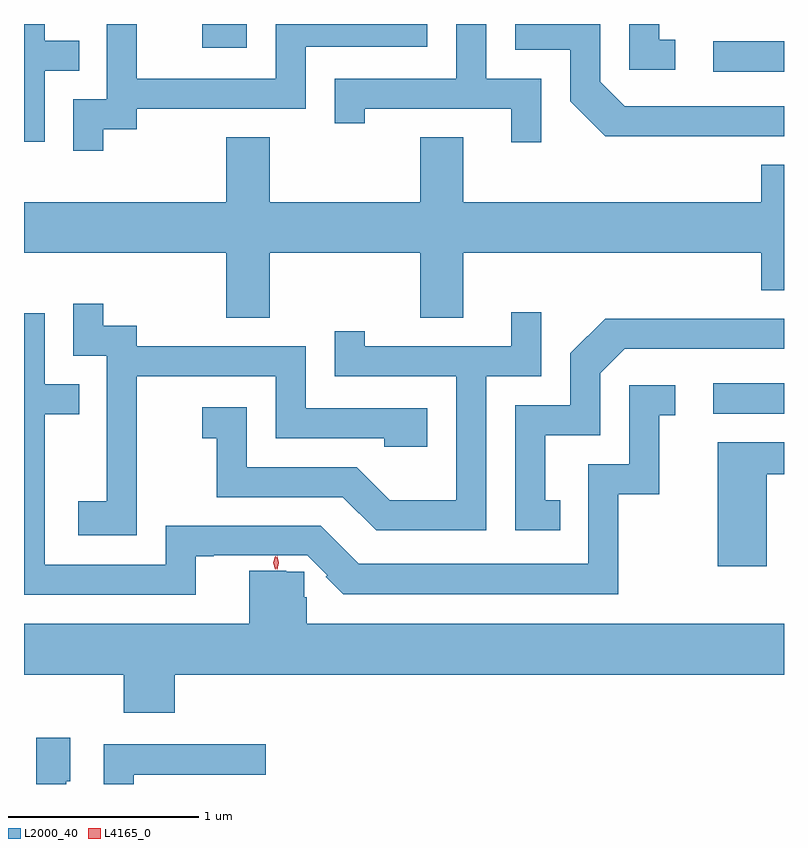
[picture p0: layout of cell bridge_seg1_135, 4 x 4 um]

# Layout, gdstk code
import gdstk
lib = gdstk.Library(unit=1e-6, precision=1e-09)
def R(c, l, rs):  # rectangles x0, y0, x1, y1
    for r in rs: c.add(gdstk.rectangle(r[:2], r[2:], *l))
def P(c, l, *ps):  # polygons
    for p in ps: c.add(gdstk.Polygon(p, *l))
L2000_40 = (2000, 40)
L4165_0 = (4165, 0)

bridge_seg1_135 = lib.new_cell('bridge_seg1_135')
R(bridge_seg1_135, L2000_40, [(1391.103,905.391,1391.476,905.549), (1391.103,907.191,1391.476,907.349), (1388.413,907.316,1388.649,907.441)])
P(bridge_seg1_135, L2000_40, [(1390.903,907.359),(1390.819,907.359),(1390.819,907.441),(1390.661,907.441),(1390.661,907.201),(1390.903,907.201)],
  [(1391.476,907.009),(1390.637,907.009),(1390.509,907.137),(1390.509,907.441),(1390.061,907.441),(1390.061,907.306),(1390.351,907.306),(1390.351,907.034),(1390.534,906.851),(1391.476,906.851)],
  [(1387.584,907.196),(1387.768,907.196),(1387.768,907.354),(1387.584,907.354),(1387.584,907.441),(1387.476,907.441),(1387.476,906.821),(1387.584,906.821)],
  [(1390.199,907.154),(1389.909,907.154),(1389.909,907.441),(1389.751,907.441),(1389.751,907.154),(1389.111,907.154),(1389.111,906.918),(1389.269,906.918),(1389.269,906.996),(1390.041,906.996),(1390.041,906.818),(1390.199,906.818)],
  [(1387.894,906.886),(1388.069,906.886),(1388.069,906.996),(1388.959,906.996),(1388.959,907.321),(1389.599,907.321),(1389.599,907.441),(1388.801,907.441),(1388.801,907.154),(1388.069,907.154),(1388.069,907.441),(1387.911,907.441),(1387.911,907.044),(1387.736,907.044),(1387.736,906.773),(1387.894,906.773)],
  [(1388.769,906.236),(1389.561,906.236),(1389.561,905.896),(1389.789,905.896),(1389.789,906.236),(1391.356,906.236),(1391.356,906.041),(1391.476,906.041),(1391.476,906.699),(1391.356,906.699),(1391.356,906.504),(1389.789,906.504),(1389.789,906.844),(1389.561,906.844),(1389.561,906.504),(1388.769,906.504),(1388.769,906.844),(1388.541,906.844),(1388.541,906.504),(1387.476,906.504),(1387.476,906.236),(1388.541,906.236),(1388.541,905.896),(1388.769,905.896)],
  [(1388.069,905.586),(1388.801,905.586),(1388.801,905.261),(1389.371,905.261),(1389.371,905.216),(1389.599,905.216),(1389.599,905.419),(1388.959,905.419),(1388.959,905.744),(1388.069,905.744),(1388.069,905.854),(1387.894,905.854),(1387.894,905.968),(1387.736,905.968),(1387.736,905.696),(1387.911,905.696),(1387.911,904.929),(1387.761,904.929),(1387.761,904.751),(1388.069,904.751)],
  [(1389.909,905.586),(1390.199,905.586),(1390.199,905.923),(1390.041,905.923),(1390.041,905.744),(1389.269,905.744),(1389.269,905.823),(1389.111,905.823),(1389.111,905.586),(1389.751,905.586),(1389.751,904.934),(1389.402,904.934),(1389.227,905.109),(1388.649,905.109),(1388.649,905.424),(1388.413,905.424),(1388.413,905.261),(1388.491,905.261),(1388.491,904.951),(1389.154,904.951),(1389.329,904.776),(1389.909,904.776)],
  [(1388.379,904.641),(1388.475,904.641),(1388.475,904.645),(1388.966,904.645),(1389.072,904.539),(1389.065,904.531),(1389.155,904.441),(1390.604,904.441),(1390.604,904.966),(1390.819,904.966),(1390.819,905.381),(1390.903,905.381),(1390.903,905.539),(1390.661,905.539),(1390.661,905.124),(1390.446,905.124),(1390.446,904.599),(1389.237,904.599),(1389.037,904.799),(1388.221,904.799),(1388.221,904.594),(1387.584,904.594),(1387.584,905.386),(1387.768,905.386),(1387.768,905.544),(1387.584,905.544),(1387.584,905.919),(1387.476,905.919),(1387.476,904.436),(1388.379,904.436)],
  [(1390.298,904.934),(1390.219,904.934),(1390.219,905.276),(1390.509,905.276),(1390.509,905.604),(1390.637,905.731),(1391.476,905.731),(1391.476,905.889),(1390.534,905.889),(1390.351,905.707),(1390.351,905.434),(1390.061,905.434),(1390.061,904.776),(1390.298,904.776)],
  [(1391.384,905.071),(1391.476,905.071),(1391.476,905.239),(1391.126,905.239),(1391.126,904.586),(1391.384,904.586)],
  [(1388.269,904.016),(1391.476,904.016),(1391.476,904.284),(1388.965,904.284),(1388.965,904.425),(1388.951,904.425),(1388.951,904.557),(1388.855,904.557),(1388.855,904.564),(1388.661,904.564),(1388.661,904.284),(1387.476,904.284),(1387.476,904.016),(1388.001,904.016),(1388.001,903.816),(1388.269,903.816)],
  [(1387.699,903.456),(1387.719,903.456),(1387.719,903.684),(1387.541,903.684),(1387.541,903.441),(1387.699,903.441)],
  [(1388.054,903.491),(1388.748,903.491),(1388.748,903.649),(1387.896,903.649),(1387.896,903.441),(1388.054,903.441)])
P(bridge_seg1_135, L4165_0, [(1388.809,904.568),(1388.808,904.569),(1388.798,904.605),(1388.808,904.641),(1388.808,904.642),(1388.809,904.641),(1388.818,904.605),(1388.809,904.569)],
  [(1388.799,904.571),(1388.799,904.572),(1388.789,904.605),(1388.799,904.639),(1388.799,904.64),(1388.8,904.639),(1388.809,904.605),(1388.8,904.572)])

lib.write_gds('bridge_seg1_135.gds')
